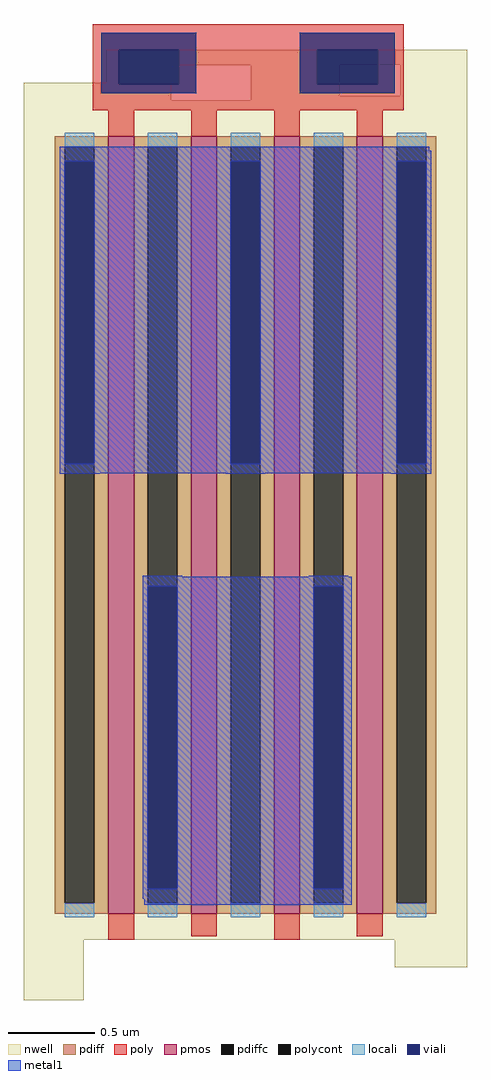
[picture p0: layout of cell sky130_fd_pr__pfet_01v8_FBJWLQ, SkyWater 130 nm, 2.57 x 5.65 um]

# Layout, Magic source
magic
tech sky130A
magscale 1 2
<< nwell >>
rect -161 533 257 550
rect -161 532 109 533
rect -161 512 -86 532
rect -257 492 -86 512
rect 6 497 109 532
rect 179 497 257 533
rect 6 492 257 497
rect -257 -480 257 492
rect -257 -550 -187 -480
rect 173 -512 257 -480
<< pmos >>
rect -159 -450 -129 450
rect -63 -450 -33 450
rect 33 -450 63 450
rect 129 -450 159 450
<< pdiff >>
rect -221 438 -159 450
rect -221 -438 -209 438
rect -175 -438 -159 438
rect -221 -450 -159 -438
rect -129 438 -63 450
rect -129 -438 -113 438
rect -79 -438 -63 438
rect -129 -450 -63 -438
rect -33 438 33 450
rect -33 -438 -17 438
rect 17 -438 33 438
rect -33 -450 33 -438
rect 63 438 129 450
rect 63 -438 79 438
rect 113 -438 129 438
rect 63 -450 129 -438
rect 159 438 221 450
rect 159 -438 175 438
rect 209 -438 221 438
rect 159 -450 221 -438
<< pdiffc >>
rect -209 -438 -175 438
rect -113 -438 -79 438
rect -17 -438 17 438
rect 79 -438 113 438
rect 175 -438 209 438
<< poly >>
rect -177 550 183 580
rect -177 510 -147 550
rect -77 510 83 550
rect 153 510 183 550
rect -177 480 183 510
rect -159 450 -129 480
rect -63 450 -33 480
rect 33 450 63 480
rect 129 450 159 480
rect -159 -480 -129 -450
rect -63 -476 -33 -450
rect 33 -480 63 -450
rect 129 -476 159 -450
<< polycont >>
rect -147 510 -77 550
rect 83 510 153 550
<< locali >>
rect -209 438 -175 454
rect -209 -454 -175 -438
rect -113 438 -79 454
rect -113 -454 -79 -438
rect -17 438 17 454
rect -17 -454 17 -438
rect 79 438 113 454
rect 79 -454 113 -438
rect 175 438 209 454
rect 175 -454 209 -438
<< viali >>
rect -167 550 -57 570
rect -167 510 -147 550
rect -147 510 -77 550
rect -77 510 -57 550
rect -167 500 -57 510
rect 63 550 173 570
rect 63 510 83 550
rect 83 510 153 550
rect 153 510 173 550
rect 63 500 173 510
rect -209 71 -175 421
rect -113 -421 -79 -71
rect -17 71 17 421
rect 79 -421 113 -71
rect 175 71 209 421
<< metal1 >>
rect -215 433 213 438
rect -215 421 215 433
rect -215 71 -209 421
rect -175 71 -17 421
rect 17 71 175 421
rect 209 71 215 421
rect -215 60 215 71
rect -215 59 -169 60
rect -23 59 23 60
rect 169 59 215 60
rect -119 -60 -73 -59
rect 73 -60 119 -59
rect -119 -71 123 -60
rect -119 -421 -113 -71
rect -79 -421 79 -71
rect 113 -421 123 -71
rect -119 -433 123 -421
rect -117 -440 123 -433
<< properties >>
string gencell sky130_fd_pr__pfet_01v8
string library sky130
string parameters w 4.5 l 0.15 m 1 nf 4 diffcov 100 polycov 100 guard 0 glc 1 grc 1 gtc 1 gbc 1 tbcov 100 rlcov 100 topc 1 botc 1 poverlap 0 doverlap 1 lmin 0.15 wmin 0.42 compatible {sky130_fd_pr__pfet_01v8  sky130_fd_pr__pfet_01v8_lvt sky130_fd_pr__pfet_01v8_hvt  sky130_fd_pr__pfet_g5v0d10v5} full_metal 1 viasrc +40 viadrn -40 viagate 100 viagb 0 viagr 0 viagl 0 viagt 0
<< end >>
